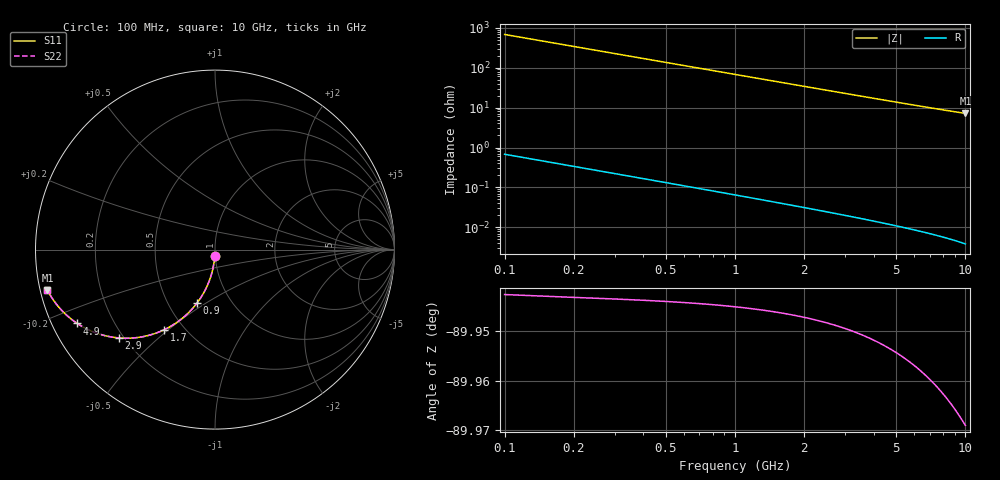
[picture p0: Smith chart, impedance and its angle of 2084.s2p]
# Hz S RI R 50.00
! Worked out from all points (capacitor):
!   100 points, 100 MHz to 10 GHz, reference 50 ohm
!   read as one part in shunt: C = 2.35 pF near 100 MHz
!   lowest |Z| = 7.15 ohm at 10 GHz (marker M1)
!   S11 on the Smith chart (normalised r, x): 100 MHz: 0.99, -0.07; 900 MHz: 0.69, -0.46; 1.7 GHz: 0.39, -0.48; 2.9 GHz: 0.18, -0.38; 4.9 GHz: 0.07, -0.25; 10 GHz: 0.02, -0.12
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1e8  -0.00127 -0.0367  0.9985 -0.0371  0.9985 -0.0371  -0.00127 -0.0367
2e8  -0.00537 -0.0731  0.9944 -0.0739  0.9944 -0.0739  -0.00537 -0.0731
3e8  -0.0121 -0.1088  0.9876 -0.1101  0.9876 -0.1101  -0.0121 -0.1088
4e8  -0.0214 -0.1438  0.9784 -0.1454  0.9784 -0.1454  -0.0214 -0.1438
5e8  -0.033 -0.1775  0.9667 -0.1796  0.9667 -0.1796  -0.033 -0.1775
6e8  -0.0469 -0.21  0.9528 -0.2124  0.9528 -0.2124  -0.0469 -0.21
7e8  -0.0628 -0.2408  0.937 -0.2437  0.937 -0.2437  -0.0628 -0.2408
9e8  -0.0997 -0.2974  0.9 -0.3011  0.9 -0.3011  -0.0997 -0.2974
1.1e9  -0.1419 -0.3463  0.8578 -0.3509  0.8578 -0.3509  -0.1419 -0.3463
1.3e9  -0.1876 -0.3873  0.8121 -0.3927  0.8121 -0.3927  -0.1876 -0.3873
1.7e9  -0.2831 -0.4466  0.7166 -0.4536  0.7166 -0.4536  -0.2831 -0.4466
1.8e9  -0.3069 -0.457  0.6928 -0.4645  0.6928 -0.4645  -0.3069 -0.457
2.3e9  -0.4197 -0.4883  0.58 -0.4978  0.58 -0.4978  -0.4197 -0.4883
2.9e9  -0.5351 -0.4922  0.4646 -0.5043  0.4646 -0.5043  -0.5351 -0.4922
3.4e9  -0.6129 -0.4794  0.3867 -0.4936  0.3867 -0.4936  -0.6129 -0.4794
4.1e9  -0.6976 -0.4501  0.302 -0.4672  0.302 -0.4672  -0.6976 -0.4501
4.9e9  -0.7676 -0.4114  0.2319 -0.4319  0.2319 -0.4319  -0.7676 -0.4114
5.1e9  -0.7817 -0.4017  0.2178 -0.4231  0.2178 -0.4231  -0.7817 -0.4017
5.8e9  -0.8228 -0.3689  0.1766 -0.3932  0.1766 -0.3932  -0.8228 -0.3689
6.7e9  -0.8615 -0.3304  0.1378 -0.3586  0.1378 -0.3586  -0.8615 -0.3304
8.4e9  -0.9079 -0.27  0.0911 -0.3057  0.0911 -0.3057  -0.9079 -0.27
1e10  -0.9338 -0.2254  0.0649 -0.2684  0.0649 -0.2684  -0.9338 -0.2254
